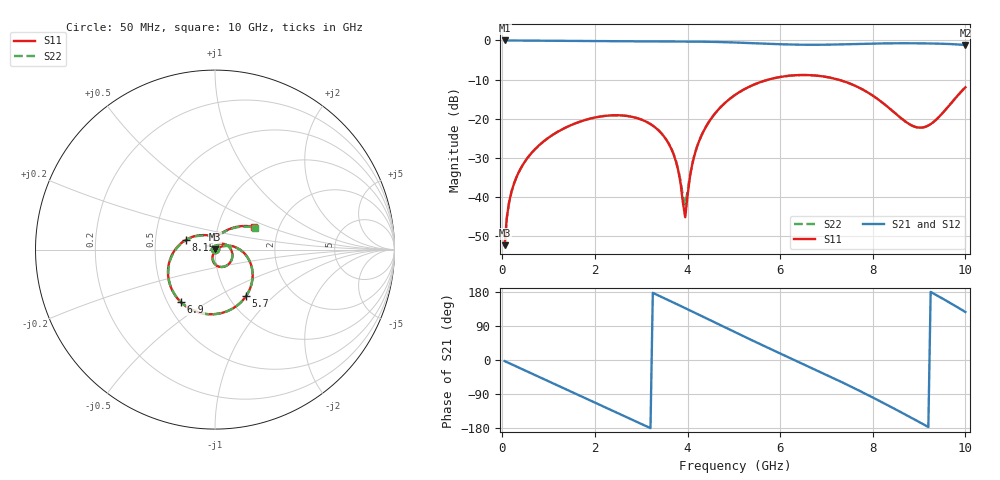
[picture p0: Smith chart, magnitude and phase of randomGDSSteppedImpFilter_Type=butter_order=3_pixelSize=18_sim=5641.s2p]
! freq	dB(S11)	phase(S11)	dB(S12)	phase(S12)
!  dB(S21)	phase(S21)	dB(S22)	phase(S22)
!S-par simulation data
#  GHz  S  DB  R 50
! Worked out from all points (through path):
!   200 points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, 50 MHz to 10 GHz, reference 50 ohm
!   highest |S21| = 0.00 dB at 50 MHz (marker M1); lowest = -1.2 dB at 10 GHz (marker M2)
!   group delay of S21, straight-line fit = 162 ps
!   lowest |S11| = -52.3 dB at 50 MHz (marker M3), VSWR 1.00, Z = 50.1 + j0.229 ohm
!   |S11| at or under -10 dB: start of sweep to 5.744 GHz; 7.255 GHz to end of sweep
!   |S22| runs from -52.5 to -8.8 dB; largest |S21 - S12| = 0
!   S11 on the Smith chart (normalised r, x): 50 MHz: 1.00, +0.00; 5.7 GHz: 1.21, -0.69; 6.9 GHz: 0.59, -0.39; 8.15 GHz: 0.72, +0.08; 10 GHz: 1.50, +0.40
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0.05  -52.29 70.4  -0.00 -2.8  -0.00 -2.8  -52.48 75.9
0.15  -41.07 74.3  -0.01 -8.5  -0.01 -8.5  -41.14 74.0
0.45  -31.61 63.4  -0.04 -25.3  -0.04 -25.3  -31.61 63.7
1.15  -23.63 25.4  -0.09 -64.6  -0.09 -64.6  -23.63 26.0
1.75  -20.44 -7.7  -0.15 -98.2  -0.15 -98.2  -20.44 -6.9
2.65  -19.20 -57.5  -0.23 -148.8  -0.23 -148.8  -19.19 -56.3
3.4  -23.25 -97.9  -0.26 168.7  -0.26 168.7  -23.22 -95.7
3.75  -30.87 -111.5  -0.26 148.5  -0.26 148.5  -30.70 -106.5
3.95  -45.10 -33.4  -0.28 136.8  -0.28 136.8  -41.97 -36.3
4.1  -31.70 25.5  -0.29 128.1  -0.29 128.1  -31.50 20.5
4.25  -25.68 22.9  -0.31 119.2  -0.31 119.2  -25.63 20.5
5.05  -13.71 -19.3  -0.53 72.0  -0.53 72.0  -13.71 -19.5
5.7  -10.15 -56.0  -0.84 34.3  -0.84 34.3  -10.15 -55.9
6.2  -9.00 -83.8  -1.03 6.0  -1.03 6.0  -9.00 -83.5
6.7  -8.90 -111.5  -1.11 -22.1  -1.11 -22.1  -8.89 -111.1
6.9  -9.14 -122.8  -1.09 -33.5  -1.09 -33.5  -9.13 -122.2
7.6  -11.46 -163.6  -0.92 -74.4  -0.92 -74.4  -11.46 -162.7
8.15  -15.34 161.4  -0.77 -108.4  -0.77 -108.4  -15.34 162.6
8.35  -17.22 147.4  -0.73 -121.1  -0.73 -121.1  -17.23 148.8
9.2  -21.70 79.8  -0.76 -176.9  -0.76 -176.9  -21.72 79.8
9.6  -17.28 55.8  -0.88 155.6  -0.88 155.6  -17.27 54.8
10  -11.95 29.9  -1.18 126.7  -1.18 126.7  -11.95 28.8
